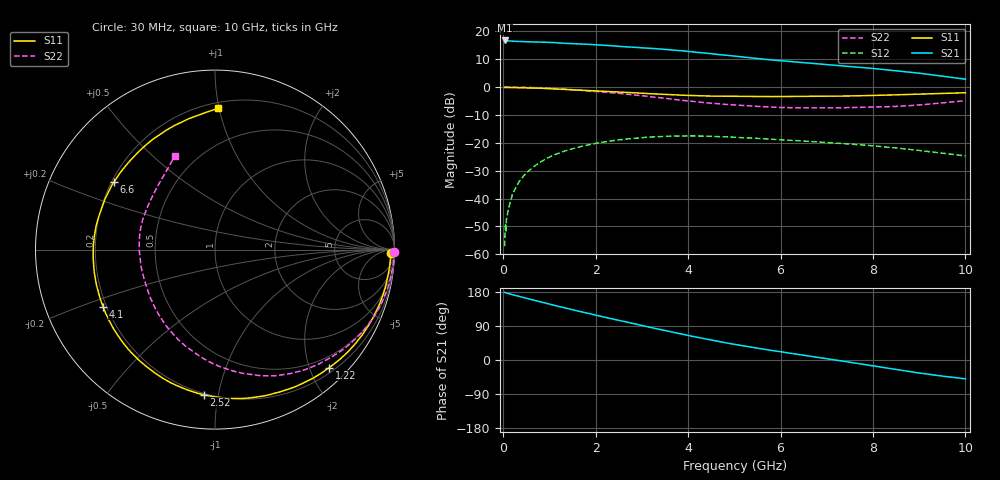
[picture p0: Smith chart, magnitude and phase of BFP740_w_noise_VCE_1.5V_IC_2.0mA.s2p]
! Infineon Technologies  Discrete & RF Semiconductors
! BFP740
! VCE =  1.5 V,  IC =  2.0 mA
! Common Emitter S-Parameters:  Jan 2016
# GHz  S  MA  R  50
!  f  S11  S21  S12  S22
! GHz  MAG  ANG  MAG  ANG  MAG  ANG  MAG  ANG
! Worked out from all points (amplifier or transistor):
!   229 points, 30 MHz to 10 GHz, reference 50 ohm
!   highest |S21| = 16.7 dB at 30 MHz (marker M1)
!   |S21| within 3 dB of that: start of sweep to 3.345 GHz
!   unconditionally stable (mu >= 1): 8.594 GHz to end of sweep
!   at 280 MHz: K = 0.05, MSG = 26.1 dB, |S12| = -35.9 dB
!   at 1.78 GHz: K = 0.17, MSG = 18.2 dB, |S12| = -21.0 dB
!   at 10 GHz: K = 1.32, MAG = 10.4 dB, |S12| = -24.7 dB
!   lowest NFmin = 0.46 dB at 450 MHz
!   S11 on the Smith chart (normalised r, x): 30 MHz: 48, -48; 1.22 GHz: 0.29, -2.33; 2.52 GHz: 0.19, -0.91; 4.1 GHz: 0.19, -0.23; 6.6 GHz: 0.21, +0.29; 10 GHz: 0.24, +0.99
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0.03  0.9794 -1.2  6.816 178.4  0.0014 84.4  0.9989 -0.8
0.04  0.9799 -1.5  6.605 178.0  0.0025 87.6  0.9995 -1.1
0.05  0.9807 -2.0  6.689 177.9  0.0036 100.0  1 -1.5
0.06  0.9799 -2.3  6.716 177.2  0.0025 86.8  0.9984 -1.7
0.07  0.9792 -2.7  6.696 176.9  0.0043 94.8  0.9995 -1.9
0.1  0.9783 -3.8  6.685 175.8  0.0058 90.7  0.9983 -2.7
0.34  0.9711 -12.9  6.544 167.9  0.0198 80.6  0.9909 -9.3
0.82  0.9463 -31.0  6.368 153.2  0.0459 67.6  0.9625 -22.4
1.22  0.9153 -45.9  6.13 140.8  0.0659 56.7  0.9243 -33.1
1.7  0.875 -63.8  5.877 126.9  0.0861 44.7  0.8696 -45.5
2.12  0.8435 -79.6  5.617 115.0  0.1014 34.3  0.8182 -56.6
2.52  0.8111 -94.4  5.344 104.2  0.1132 25.0  0.7659 -66.7
2.9  0.7813 -108.7  5.111 93.9  0.1217 16.5  0.7106 -76.6
3.4  0.7416 -127.7  4.784 80.4  0.1291 5.4  0.6386 -90.3
4.1  0.7003 -153.0  4.255 62.3  0.1325 -9.1  0.5505 -109.8
4.5  0.6857 -166.5  3.948 52.6  0.1304 -16.6  0.5115 -120.4
5.1  0.6769 176.3  3.501 39.3  0.1248 -26.5  0.4695 -134.7
6.6  0.6772 146.3  2.675 10.7  0.106 -44.7  0.4207 -169.6
6.8  0.6791 142.5  2.594 7.1  0.1034 -46.8  0.4201 -174.4
8.4  0.7188 112.0  1.993 -23.1  0.0822 -61.6  0.4447 147.9
9  0.7441 101.2  1.767 -34.4  0.0727 -65.1  0.4766 132.2
10  0.7873 88.7  1.379 -49.8  0.0581 -66.0  0.5678 113.3
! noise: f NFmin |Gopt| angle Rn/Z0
0.45  0.46  0.57  13  0.36
0.9  0.48  0.58  20  0.35
1.5  0.55  0.56  30  0.33
1.9  0.59  0.53  44  0.32
2.4  0.63  0.53  51  0.31
3.5  0.77  0.49  75  0.29
5.5  1.07  0.36  151  0.25
10  1.84  0.61  -89  0.34
